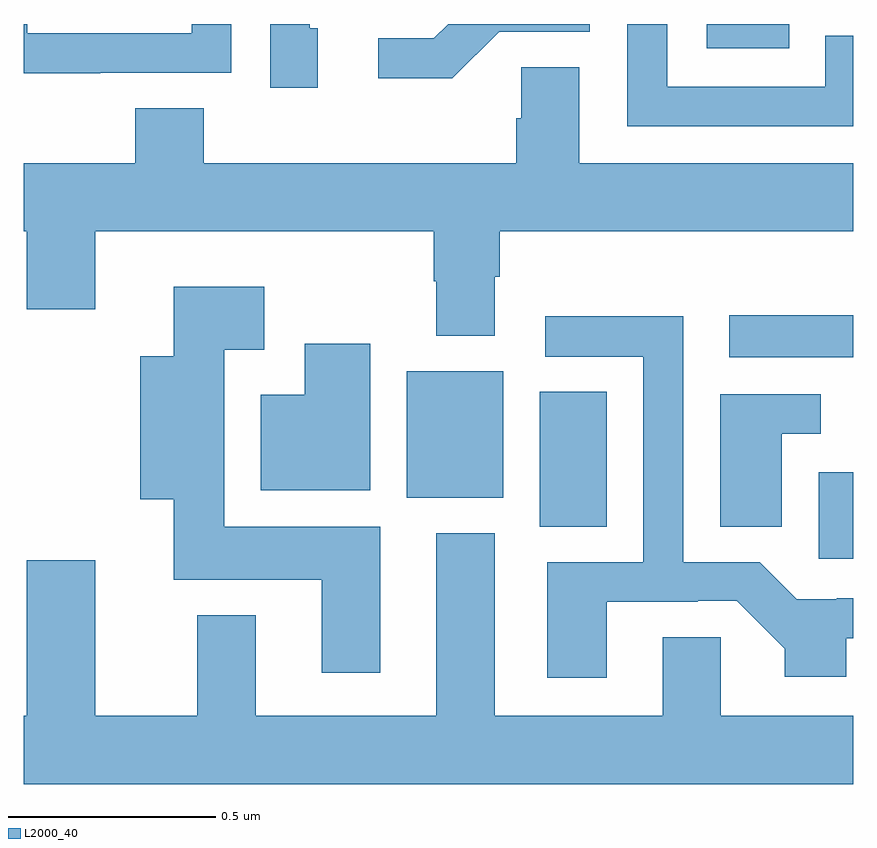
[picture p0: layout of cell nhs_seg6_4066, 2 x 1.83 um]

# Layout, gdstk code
import gdstk
lib = gdstk.Library(unit=1e-6, precision=1e-09)
def R(c, l, rs):  # rectangles x0, y0, x1, y1
    for r in rs: c.add(gdstk.rectangle(r[:2], r[2:], *l))
def P(c, l, *ps):  # polygons
    for p in ps: c.add(gdstk.Polygon(p, *l))
L2000_40 = (2000, 40)

nhs_seg6_4066 = lib.new_cell('nhs_seg6_4066')
R(nhs_seg6_4066, L2000_40, [(166.916,949.211,167,949.42), (166.244,949.288,166.405,949.613), (165.923,949.358,166.156,949.663), (166.701,949.697,167,949.798), (166.647,950.441,166.845,950.5)])
P(nhs_seg6_4066, L2000_40, [(165.185,950.382),(165.501,950.382),(165.501,950.5),(165.405,950.5),(165.405,950.478),(165.009,950.478),(165.009,950.5),(165,950.5),(165,950.381),(165.185,950.381)],
  [(167,950.472),(166.932,950.472),(166.932,950.349),(166.551,950.349),(166.551,950.5),(166.455,950.5),(166.455,950.253),(167,950.253)],
  [(166.146,950.481),(166.365,950.481),(166.365,950.5),(166.023,950.5),(165.989,950.466),(165.855,950.466),(165.855,950.369),(166.033,950.369)],
  [(165.709,950.49),(165.69,950.49),(165.69,950.5),(165.594,950.5),(165.594,950.346),(165.709,950.346)],
  [(166.135,949.891),(166.148,949.891),(166.148,950),(167,950),(167,950.164),(166.339,950.164),(166.339,950.396),(166.2,950.396),(166.2,950.273),(166.187,950.273),(166.187,950.164),(165.434,950.164),(165.434,950.297),(165.269,950.297),(165.269,950.164),(165,950.164),(165,950),(165.008,950),(165.008,949.812),(165.172,949.812),(165.172,950),(165.988,950),(165.988,949.88),(165.995,949.88),(165.995,949.748),(166.135,949.748)],
  [(165.859,949.288),(165.484,949.288),(165.484,949.715),(165.58,949.715),(165.58,949.867),(165.362,949.867),(165.362,949.699),(165.281,949.699),(165.281,949.355),(165.362,949.355),(165.362,949.16),(165.719,949.16),(165.719,948.936),(165.859,948.936)],
  [(166.405,949.107),(166.625,949.107),(166.625,949.11),(166.719,949.11),(166.835,948.994),(166.835,948.926),(166.983,948.926),(166.983,949.019),(167,949.019),(167,949.116),(166.96,949.116),(166.96,949.113),(166.864,949.113),(166.774,949.203),(166.59,949.203),(166.59,949.796),(166.257,949.796),(166.257,949.698),(166.494,949.698),(166.494,949.203),(166.262,949.203),(166.262,948.924),(166.405,948.924)],
  [(165.835,949.729),(165.677,949.729),(165.677,949.606),(165.572,949.606),(165.572,949.376),(165.835,949.376)],
  [(166.828,949.512),(166.921,949.512),(166.921,949.608),(166.679,949.608),(166.679,949.288),(166.828,949.288)],
  [(167,948.832),(166.68,948.832),(166.68,949.022),(166.541,949.022),(166.541,948.832),(166.135,948.832),(166.135,949.273),(165.995,949.273),(165.995,948.832),(165.559,948.832),(165.559,949.075),(165.419,949.075),(165.419,948.832),(165.172,948.832),(165.172,949.207),(165.008,949.207),(165.008,948.832),(165,948.832),(165,948.668),(167,948.668)])

lib.write_gds('nhs_seg6_4066.gds')
